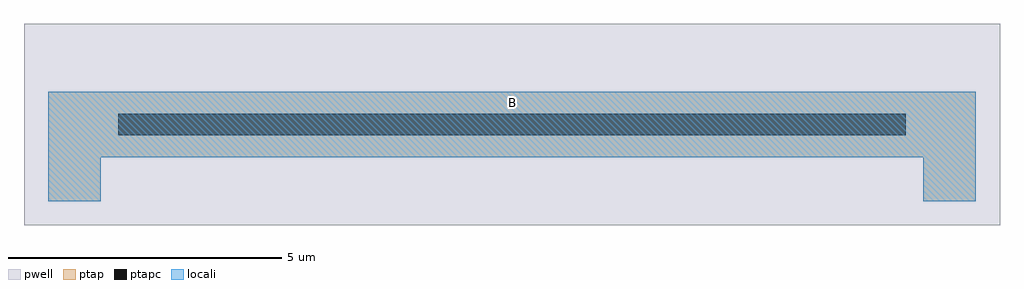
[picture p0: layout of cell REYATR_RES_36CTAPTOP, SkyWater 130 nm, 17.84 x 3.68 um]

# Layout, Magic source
magic
tech sky130A
magscale 1 2
<< ptap >>
rect -96 -40 96 40
rect 3104 -40 3296 40
rect -96 40 96 120
rect 3104 40 3296 120
rect -96 120 3296 200
rect -96 200 3296 280
rect -96 280 3296 360
<< locali >>
rect -96 -40 96 40
rect 3104 -40 3296 40
rect -96 40 96 120
rect 3104 40 3296 120
rect -96 120 3296 200
rect -96 200 3296 280
rect -96 280 3296 360
rect -96 280 3296 360
<< ptapc >>
rect 160 200 3040 280
<< pwell >>
rect -184 -128 3384 608
<< labels >>
flabel locali s -96 280 3296 360 0 FreeSans 400 0 0 0 B
<< properties >>
string FIXED_BBOX 0 0 3200 480
<< end >>
